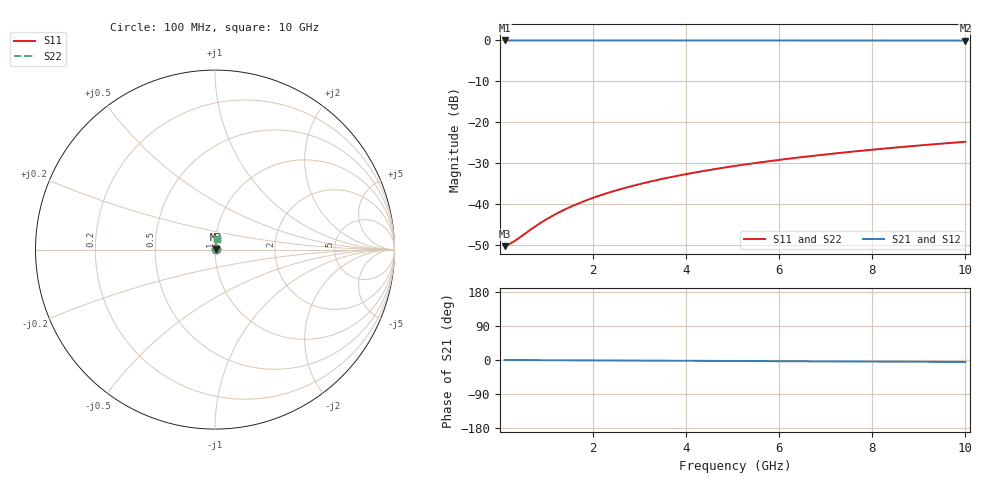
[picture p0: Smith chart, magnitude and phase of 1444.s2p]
# Hz S RI R 50.00
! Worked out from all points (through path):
!   100 points, 100 MHz to 10 GHz, reference 50 ohm
!   highest |S21| = -0.03 dB at 100 MHz (marker M1); lowest = 0.0 dB at 10 GHz (marker M2)
!   lowest |S11| = -50.2 dB at 100 MHz (marker M3), VSWR 1.01, Z = 50.3 + j0.0578 ohm
!   |S11| at or under -10 dB: start of sweep to end of sweep
!   |S22| runs from -50.2 to -24.8 dB; largest |S21 - S12| = 0
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1e8  0.00303 0.000574  0.997 -0.000909  0.997 -0.000909  0.00303 0.000574
2e8  0.00305 0.00115  0.997 -0.00182  0.997 -0.00182  0.00305 0.00115
3e8  0.00307 0.00172  0.9969 -0.00273  0.9969 -0.00273  0.00307 0.00172
8e8  0.00314 0.00459  0.9969 -0.00727  0.9969 -0.00727  0.00314 0.00459
9e8  0.00316 0.00517  0.9968 -0.00818  0.9968 -0.00818  0.00316 0.00517
1.1e9  0.00319 0.00632  0.9968 -0.01  0.9968 -0.01  0.00319 0.00632
1.4e9  0.00324 0.00804  0.9967 -0.0127  0.9967 -0.0127  0.00324 0.00804
1.6e9  0.00328 0.00919  0.9967 -0.0145  0.9967 -0.0145  0.00328 0.00919
1.8e9  0.00333 0.0103  0.9966 -0.0164  0.9966 -0.0164  0.00333 0.0103
2.1e9  0.0034 0.0121  0.9966 -0.0191  0.9966 -0.0191  0.0034 0.0121
2.5e9  0.00351 0.0144  0.9964 -0.0227  0.9964 -0.0227  0.00351 0.0144
2.9e9  0.00364 0.0166  0.9963 -0.0264  0.9963 -0.0264  0.00364 0.0166
3.4e9  0.00382 0.0195  0.9961 -0.0309  0.9961 -0.0309  0.00382 0.0195
3.8e9  0.00398 0.0218  0.9959 -0.0346  0.9959 -0.0346  0.00398 0.0218
4.2e9  0.00416 0.0241  0.9957 -0.0382  0.9957 -0.0382  0.00416 0.0241
4.6e9  0.00435 0.0264  0.9955 -0.0418  0.9955 -0.0418  0.00435 0.0264
5.1e9  0.00462 0.0293  0.9952 -0.0464  0.9952 -0.0464  0.00462 0.0293
5.9e9  0.0051 0.0338  0.9947 -0.0536  0.9947 -0.0536  0.0051 0.0338
6.7e9  0.00565 0.0384  0.9941 -0.0609  0.9941 -0.0609  0.00565 0.0384
7.5e9  0.00626 0.043  0.9934 -0.0682  0.9934 -0.0682  0.00626 0.043
8.4e9  0.00704 0.0481  0.9925 -0.0764  0.9925 -0.0764  0.00704 0.0481
1e10  0.00862 0.0572  0.9908 -0.0909  0.9908 -0.0909  0.00862 0.0572
